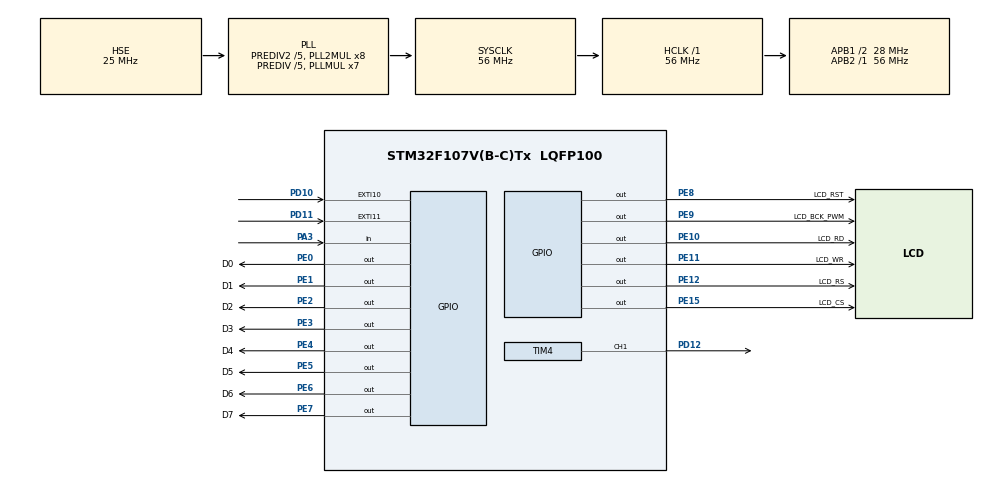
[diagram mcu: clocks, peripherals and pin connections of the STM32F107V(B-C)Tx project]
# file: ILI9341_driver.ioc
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Mcu.Family=STM32F1
Mcu.Name=STM32F107V(B-C)Tx
Mcu.Package=LQFP100
NVIC.EXTI15_10_IRQn=true\:0\:0\:false\:false\:true\:true
NVIC.PriorityGroup=NVIC_PRIORITYGROUP_4
OSC_IN.Mode=HSE-External-Oscillator
OSC_IN.Signal=RCC_OSC_IN
OSC_OUT.Mode=HSE-External-Oscillator
OSC_OUT.Signal=RCC_OSC_OUT
PA13.Mode=Serial_Wire
PA13.Signal=SYS_JTMS-SWDIO
PA14.Mode=Serial_Wire
PA14.Signal=SYS_JTCK-SWCLK
PA3.Signal=GPIO_Input
PD10.Signal=GPXTI10
PD11.Signal=GPXTI11
PD12.Signal=S_TIM4_CH1
PE0.GPIO_Label=D0
PE0.GPIO_ModeDefaultOutputPP=GPIO_MODE_OUTPUT_PP
PE0.GPIO_Speed=GPIO_SPEED_FREQ_LOW
PE0.PinState=GPIO_PIN_SET
PE0.Signal=GPIO_Output
PE1.GPIO_Label=D1
PE1.GPIO_ModeDefaultOutputPP=GPIO_MODE_OUTPUT_PP
PE1.GPIO_Speed=GPIO_SPEED_FREQ_LOW
PE1.PinState=GPIO_PIN_SET
PE1.Signal=GPIO_Output
PE10.GPIO_Label=LCD_RD
PE10.GPIO_ModeDefaultOutputPP=GPIO_MODE_OUTPUT_PP
PE10.GPIO_Speed=GPIO_SPEED_FREQ_LOW
PE10.PinState=GPIO_PIN_SET
PE10.Signal=GPIO_Output
PE11.GPIO_Label=LCD_WR
PE11.GPIO_ModeDefaultOutputPP=GPIO_MODE_OUTPUT_PP
PE11.GPIO_Speed=GPIO_SPEED_FREQ_LOW
PE11.PinState=GPIO_PIN_SET
PE11.Signal=GPIO_Output
PE12.GPIO_Label=LCD_RS
PE12.GPIO_ModeDefaultOutputPP=GPIO_MODE_OUTPUT_PP
PE12.GPIO_Speed=GPIO_SPEED_FREQ_LOW
PE12.PinState=GPIO_PIN_SET
PE12.Signal=GPIO_Output
PE15.GPIO_Label=LCD_CS
PE15.GPIO_ModeDefaultOutputPP=GPIO_MODE_OUTPUT_PP
PE15.GPIO_Speed=GPIO_SPEED_FREQ_LOW
PE15.PinState=GPIO_PIN_SET
PE15.Signal=GPIO_Output
PE2.GPIO_Label=D2
PE2.GPIO_ModeDefaultOutputPP=GPIO_MODE_OUTPUT_PP
PE2.GPIO_Speed=GPIO_SPEED_FREQ_LOW
PE2.PinState=GPIO_PIN_SET
PE2.Signal=GPIO_Output
PE3.GPIO_Label=D3
PE3.GPIO_ModeDefaultOutputPP=GPIO_MODE_OUTPUT_PP
PE3.GPIO_Speed=GPIO_SPEED_FREQ_LOW
PE3.PinState=GPIO_PIN_SET
PE3.Signal=GPIO_Output
PE4.GPIO_Label=D4
PE4.GPIO_ModeDefaultOutputPP=GPIO_MODE_OUTPUT_PP
PE4.GPIO_Speed=GPIO_SPEED_FREQ_LOW
PE4.PinState=GPIO_PIN_SET
PE4.Signal=GPIO_Output
PE5.GPIO_Label=D5
PE5.GPIO_ModeDefaultOutputPP=GPIO_MODE_OUTPUT_PP
PE5.GPIO_Speed=GPIO_SPEED_FREQ_LOW
PE5.PinState=GPIO_PIN_SET
PE5.Signal=GPIO_Output
PE6.GPIO_Label=D6
PE6.GPIO_ModeDefaultOutputPP=GPIO_MODE_OUTPUT_PP
PE6.GPIO_Speed=GPIO_SPEED_FREQ_LOW
PE6.PinState=GPIO_PIN_SET
PE6.Signal=GPIO_Output
PE7.GPIO_Label=D7
PE7.GPIO_ModeDefaultOutputPP=GPIO_MODE_OUTPUT_PP
PE7.GPIO_Speed=GPIO_SPEED_FREQ_LOW
PE7.PinState=GPIO_PIN_SET
PE7.Signal=GPIO_Output
PE8.GPIO_Label=LCD_RST
PE8.GPIO_ModeDefaultOutputPP=GPIO_MODE_OUTPUT_PP
PE8.GPIO_Speed=GPIO_SPEED_FREQ_LOW
PE8.PinState=GPIO_PIN_SET
PE8.Signal=GPIO_Output
PE9.GPIO_Label=LCD_BCK_PWM
PE9.GPIO_ModeDefaultOutputPP=GPIO_MODE_OUTPUT_PP
PE9.GPIO_Speed=GPIO_SPEED_FREQ_LOW
PE9.PinState=GPIO_PIN_SET
PE9.Signal=GPIO_Output
ProjectManager.HeapSize=0x200
ProjectManager.StackSize=0x400
ProjectManager.TargetToolchain=MDK-ARM V5
RCC.ADCPresc=RCC_ADCPCLK2_DIV4
RCC.AHBFreq_Value=56000000
RCC.APB1CLKDivider=RCC_HCLK_DIV2
RCC.APB1Freq_Value=28000000
RCC.APB1TimFreq_Value=56000000
RCC.APB2Freq_Value=56000000
RCC.APB2TimFreq_Value=56000000
RCC.HCLKFreq_Value=56000000
RCC.HSEDivPLL=RCC_HSE_PREDIV_DIV5
RCC.HSE_VALUE=25000000
RCC.PLLMUL=RCC_PLL_MUL7
RCC.PLLSourceVirtual=RCC_PLLSOURCE_HSE
RCC.Prediv1Source=RCC_PREDIV1_SOURCE_PLL2
RCC.Prediv2=RCC_HSE_PREDIV2_DIV5
RCC.SYSCLKFreq_VALUE=56000000
RCC.SYSCLKSource=RCC_SYSCLKSOURCE_PLLCLK
RCC.USBFreq_Value=37333333.333333336
SH.S_TIM4_CH1.0=TIM4_CH1,PWM Generation1 CH1
TIM4.Channel-PWM\ Generation1\ CH1=TIM_CHANNEL_1
TIM4.Period=35999
TIM4.Prescaler=1
TIM4.Pulse-PWM\ Generation1\ CH1=720
VP_TIM4_VS_ClockSourceINT.Mode=Internal
board=ILI9341_driver

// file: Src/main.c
/**
  ******************************************************************************
  * @file           : main.c
  * @brief          : Main program body
  ******************************************************************************
  ** This notice applies to any and all portions of this file
  * that are not between comment pairs USER CODE BEGIN and
  * USER CODE END. Other portions of this file, whether
  * inserted by the user or by software development tools
  * are owned by their respective copyright owners.
  *
  * COPYRIGHT(c) 2019 STMicroelectronics
  *
  * Redistribution and use in source and binary forms, with or without modification,
  * are permitted provided that the following conditions are met:
  *   1. Redistributions of source code must retain the above copyright notice,
  *      this list of conditions and the following disclaimer.
  *   2. Redistributions in binary form must reproduce the above copyright notice,
  *      this list of conditions and the following disclaimer in the documentation
  *      and/or other materials provided with the distribution.
  *   3. Neither the name of STMicroelectronics nor the names of its contributors
  *      may be used to endorse or promote products derived from this software
  *      without specific prior written permission.
  *
  * THIS SOFTWARE IS PROVIDED BY THE COPYRIGHT HOLDERS AND CONTRIBUTORS "AS IS"
  * AND ANY EXPRESS OR IMPLIED WARRANTIES, INCLUDING, BUT NOT LIMITED TO, THE
  * IMPLIED WARRANTIES OF MERCHANTABILITY AND FITNESS FOR A PARTICULAR PURPOSE ARE
  * DISCLAIMED. IN NO EVENT SHALL THE COPYRIGHT HOLDER OR CONTRIBUTORS BE LIABLE
  * FOR ANY DIRECT, INDIRECT, INCIDENTAL, SPECIAL, EXEMPLARY, OR CONSEQUENTIAL
  * DAMAGES (INCLUDING, BUT NOT LIMITED TO, PROCUREMENT OF SUBSTITUTE GOODS OR
  * SERVICES; LOSS OF USE, DATA, OR PROFITS; OR BUSINESS INTERRUPTION) HOWEVER
  * CAUSED AND ON ANY THEORY OF LIABILITY, WHETHER IN CONTRACT, STRICT LIABILITY,
  * OR TORT (INCLUDING NEGLIGENCE OR OTHERWISE) ARISING IN ANY WAY OUT OF THE USE
  * OF THIS SOFTWARE, EVEN IF ADVISED OF THE POSSIBILITY OF SUCH DAMAGE.
  *
  ******************************************************************************
  */
#include "main.h"
#include "stm32f1xx_hal.h"

/* USER CODE BEGIN Includes */
#include "dwt_stm32_delay.h"
#include "ILI9341_STM32_Driver.h"
#include "ILI9341_GFX.h"
#include "snow_tiger.h"
#include "stdlib.h"
#include "stdio.h"
#define MAXDS18 100
/* USER CODE END Includes */

TIM_HandleTypeDef htim4;

/* USER CODE BEGIN PV */
/* Private variables ---------------------------------------------------------*/

/* USER CODE END PV */

void SystemClock_Config(void);
static void MX_GPIO_Init(void);
static void MX_TIM4_Init(void);
void HAL_TIM_MspPostInit(TIM_HandleTypeDef *htim);

/* USER CODE BEGIN PFP */
/* Private function prototypes -----------------------------------------------*/
int pwm = 35999;
char buf[30];
/* USER CODE END PFP */

/* USER CODE BEGIN 0 */
GPIO_InitTypeDef GPIO_InitStruct;

void gpio_set_input (void)
{
  GPIO_InitStruct.Pin = GPIO_PIN_3;
  GPIO_InitStruct.Mode = GPIO_MODE_INPUT;
  GPIO_InitStruct.Pull = GPIO_PULLUP;
  HAL_GPIO_Init(GPIOA, &GPIO_InitStruct);
}

void gpio_set_output (void)
{
  GPIO_InitStruct.Pin = GPIO_PIN_3;
  GPIO_InitStruct.Mode = GPIO_MODE_OUTPUT_PP;
  GPIO_InitStruct.Pull = GPIO_NOPULL;
  GPIO_InitStruct.Speed = GPIO_SPEED_FREQ_LOW;
  HAL_GPIO_Init(GPIOA, &GPIO_InitStruct);
}

uint8_t check=2, temp_l, temp_h;
uint16_t temp;
float temperature;

uint8_t ds18b20_init (void)
{
	gpio_set_output();   // set the pin as output
	HAL_GPIO_WritePin (GPIOA, GPIO_PIN_3, 0);  // pull the pin low
	DWT_Delay_us(480);   // delay according to datasheet

	gpio_set_input ();    // set the pin as input
	DWT_Delay_us(80);    // delay according to datasheet

	if (!(HAL_GPIO_ReadPin (GPIOA, GPIO_PIN_3)))    // if the pin is low i.e the presence pulse is there
	{
		DWT_Delay_us(400);  // wait for 400 us
		return 0;
	}

	else
	{
		DWT_Delay_us(400);
		return 1;
	}
}

void write (uint8_t data)
{
	gpio_set_output();   // set as output

	for (int i=0; i<8; i++)
	{

		if ((data & (1<<i))!=0)  // if the bit is high
		{
			// write 1

			gpio_set_output();  // set as output
			HAL_GPIO_WritePin (GPIOA, GPIO_PIN_3, 0);  // pull the pin LOW
			DWT_Delay_us(1);  // wait for  us

			gpio_set_input ();  // set as input
			DWT_Delay_us(60);  // wait for 60 us
		}

		else  // if the bit is low
		{
			// write 0

			gpio_set_output();
			HAL_GPIO_WritePin(GPIOA, GPIO_PIN_3, 0);  // pull the pin LOW
			DWT_Delay_us(60);  // wait for 60 us

			gpio_set_input();
		}
	}
}

uint8_t read (void)
{
	uint8_t value=0;
	gpio_set_input();

	for (int i=0;i<8;i++)
	{
		gpio_set_output();   // set as output

		HAL_GPIO_WritePin(GPIOA, GPIO_PIN_3, 0);  // pull the data pin LOW
		DWT_Delay_us(2);  // wait for 2 us

		gpio_set_input();  // set as input
		if(HAL_GPIO_ReadPin(GPIOA, GPIO_PIN_3))  // if the pin is HIGH
		{
			value |= 1<<i;  // read = 1
		}
		DWT_Delay_us(60);  // wait for 60 us
	}
	return value;
}
/* USER CODE END 0 */

int main(void)
{
  /* USER CODE BEGIN 1 */
	char buf[MAXDS18];
	char buf2[MAXDS18];
  /* USER CODE END 1 */

  /* MCU Configuration----------------------------------------------------------*/

  /* Reset of all peripherals, Initializes the Flash interface and the Systick. */
  HAL_Init();

  /* Configure the system clock */
  SystemClock_Config();

  /* Initialize all configured peripherals */
  MX_GPIO_Init();
  MX_TIM4_Init();
  /* USER CODE BEGIN 2 */
	DWT_Delay_Init();
	ILI9341_Init();
	HAL_TIM_Base_Start(&htim4);
	HAL_TIM_PWM_Start(&htim4, TIM_CHANNEL_1);
  /* USER CODE END 2 */

  /* Infinite loop */
  /* USER CODE BEGIN WHILE */
	ILI9341_Fill_Screen(WHITE);

	ILI9341_Draw_Image((const char*)dog_small, 100, 100, 110, 10);
	ILI9341_Draw_Horizontal_Line(0,120,320,BLACK);
	srand(234);
  while (1)
  {
	__HAL_TIM_SET_COMPARE(&htim4, TIM_CHANNEL_1, pwm);
	check = ds18b20_init();
	write (0xCC);  // skip ROM
	write (0x44);  // convert t

	HAL_Delay(800);

	ds18b20_init();
	write (0xCC);  // skip ROM
	write (0xBE);  // Read Scratchpad

	temp_l = read();
	temp_h = read();
	temp = (temp_h<<8)|temp_l;
	temperature = (float)temp/16;

	double percentofCooling = (pwm/35999.0)*100.0;
	sprintf(buf,"Temperature:%.2f C",temperature);
	sprintf(buf2,"Cooling Speed:%.2f%%",percentofCooling);

	ILI9341_Set_Rotation(SCREEN_HORIZONTAL_1);

	ILI9341_Draw_Text(buf, 10, 130, BLACK, 2, WHITE);
	ILI9341_Draw_Text(buf2, 10, 160, BLACK, 2, WHITE);

  /* USER CODE END WHILE */

  }

}

void SystemClock_Config(void)
{

  RCC_OscInitTypeDef RCC_OscInitStruct;
  RCC_ClkInitTypeDef RCC_ClkInitStruct;

    /**Initializes the CPU, AHB and APB busses clocks
    */
  RCC_OscInitStruct.OscillatorType = RCC_OSCILLATORTYPE_HSE;
  RCC_OscInitStruct.HSEState = RCC_HSE_ON;
  RCC_OscInitStruct.HSEPredivValue = RCC_HSE_PREDIV_DIV5;
  RCC_OscInitStruct.HSIState = RCC_HSI_ON;
  RCC_OscInitStruct.Prediv1Source = RCC_PREDIV1_SOURCE_PLL2;
  RCC_OscInitStruct.PLL.PLLState = RCC_PLL_ON;
  RCC_OscInitStruct.PLL.PLLSource = RCC_PLLSOURCE_HSE;
  RCC_OscInitStruct.PLL.PLLMUL = RCC_PLL_MUL7;
  RCC_OscInitStruct.PLL2.PLL2State = RCC_PLL2_ON;
  RCC_OscInitStruct.PLL2.PLL2MUL = RCC_PLL2_MUL8;
  RCC_OscInitStruct.PLL2.HSEPrediv2Value = RCC_HSE_PREDIV2_DIV5;
  if (HAL_RCC_OscConfig(&RCC_OscInitStruct) != HAL_OK)
  {
    _Error_Handler(__FILE__, __LINE__);
  }

    /**Initializes the CPU, AHB and APB busses clocks
    */
  RCC_ClkInitStruct.ClockType = RCC_CLOCKTYPE_HCLK|RCC_CLOCKTYPE_SYSCLK
                              |RCC_CLOCKTYPE_PCLK1|RCC_CLOCKTYPE_PCLK2;
  RCC_ClkInitStruct.SYSCLKSource = RCC_SYSCLKSOURCE_PLLCLK;
  RCC_ClkInitStruct.AHBCLKDivider = RCC_SYSCLK_DIV1;
  RCC_ClkInitStruct.APB1CLKDivider = RCC_HCLK_DIV2;
  RCC_ClkInitStruct.APB2CLKDivider = RCC_HCLK_DIV1;

  if (HAL_RCC_ClockConfig(&RCC_ClkInitStruct, FLASH_LATENCY_2) != HAL_OK)
  {
    _Error_Handler(__FILE__, __LINE__);
  }

    /**Configure the Systick interrupt time
    */
  HAL_SYSTICK_Config(HAL_RCC_GetHCLKFreq()/1000);

    /**Configure the Systick
    */
  HAL_SYSTICK_CLKSourceConfig(SYSTICK_CLKSOURCE_HCLK);

    /**Configure the Systick interrupt time
    */
  __HAL_RCC_PLLI2S_ENABLE();

  /* SysTick_IRQn interrupt configuration */
  HAL_NVIC_SetPriority(SysTick_IRQn, 0, 0);
}

/* TIM4 init function */
static void MX_TIM4_Init(void)
{

  TIM_ClockConfigTypeDef sClockSourceConfig;
  TIM_MasterConfigTypeDef sMasterConfig;
  TIM_OC_InitTypeDef sConfigOC;

  htim4.Instance = TIM4;
  htim4.Init.Prescaler = 1;
  htim4.Init.CounterMode = TIM_COUNTERMODE_UP;
  htim4.Init.Period = 35999;
  htim4.Init.ClockDivision = TIM_CLOCKDIVISION_DIV1;
  htim4.Init.AutoReloadPreload = TIM_AUTORELOAD_PRELOAD_DISABLE;
  if (HAL_TIM_Base_Init(&htim4) != HAL_OK)
  {
    _Error_Handler(__FILE__, __LINE__);
  }

  sClockSourceConfig.ClockSource = TIM_CLOCKSOURCE_INTERNAL;
  if (HAL_TIM_ConfigClockSource(&htim4, &sClockSourceConfig) != HAL_OK)
  {
    _Error_Handler(__FILE__, __LINE__);
  }

  if (HAL_TIM_PWM_Init(&htim4) != HAL_OK)
  {
    _Error_Handler(__FILE__, __LINE__);
  }

  sMasterConfig.MasterOutputTrigger = TIM_TRGO_RESET;
  sMasterConfig.MasterSlaveMode = TIM_MASTERSLAVEMODE_DISABLE;
  if (HAL_TIMEx_MasterConfigSynchronization(&htim4, &sMasterConfig) != HAL_OK)
  {
    _Error_Handler(__FILE__, __LINE__);
  }

  sConfigOC.OCMode = TIM_OCMODE_PWM1;
  sConfigOC.Pulse = 720;
  sConfigOC.OCPolarity = TIM_OCPOLARITY_HIGH;
  sConfigOC.OCFastMode = TIM_OCFAST_DISABLE;
  if (HAL_TIM_PWM_ConfigChannel(&htim4, &sConfigOC, TIM_CHANNEL_1) != HAL_OK)
  {
    _Error_Handler(__FILE__, __LINE__);
  }

  HAL_TIM_MspPostInit(&htim4);

}

/** Configure pins as
        * Analog
        * Input
        * Output
        * EVENT_OUT
        * EXTI
*/
static void MX_GPIO_Init(void)
{

  GPIO_InitTypeDef GPIO_InitStruct;

  /* GPIO Ports Clock Enable */
  __HAL_RCC_GPIOE_CLK_ENABLE();
  __HAL_RCC_GPIOA_CLK_ENABLE();
  __HAL_RCC_GPIOD_CLK_ENABLE();

  /*Configure GPIO pin Output Level */
  HAL_GPIO_WritePin(GPIOE, D2_Pin|D3_Pin|D4_Pin|D5_Pin
                          |D6_Pin|D7_Pin|LCD_RST_Pin|LCD_BCK_PWM_Pin
                          |LCD_RD_Pin|LCD_WR_Pin|LCD_RS_Pin|LCD_CS_Pin
                          |D0_Pin|D1_Pin, GPIO_PIN_SET);

  /*Configure GPIO pins : D2_Pin D3_Pin D4_Pin D5_Pin
                           D6_Pin D7_Pin LCD_RST_Pin LCD_BCK_PWM_Pin
                           LCD_RD_Pin LCD_WR_Pin LCD_RS_Pin LCD_CS_Pin
                           D0_Pin D1_Pin */
  GPIO_InitStruct.Pin = D2_Pin|D3_Pin|D4_Pin|D5_Pin
                          |D6_Pin|D7_Pin|LCD_RST_Pin|LCD_BCK_PWM_Pin
                          |LCD_RD_Pin|LCD_WR_Pin|LCD_RS_Pin|LCD_CS_Pin
                          |D0_Pin|D1_Pin;
  GPIO_InitStruct.Mode = GPIO_MODE_OUTPUT_PP;
  GPIO_InitStruct.Speed = GPIO_SPEED_FREQ_LOW;
  HAL_GPIO_Init(GPIOE, &GPIO_InitStruct);

  /*Configure GPIO pin : PA3 */
  GPIO_InitStruct.Pin = GPIO_PIN_3;
  GPIO_InitStruct.Mode = GPIO_MODE_INPUT;
  GPIO_InitStruct.Pull = GPIO_NOPULL;
  HAL_GPIO_Init(GPIOA, &GPIO_InitStruct);

  /*Configure GPIO pins : PD10 PD11 */
  GPIO_InitStruct.Pin = GPIO_PIN_10|GPIO_PIN_11;
  GPIO_InitStruct.Mode = GPIO_MODE_IT_RISING;
  GPIO_InitStruct.Pull = GPIO_NOPULL;
  HAL_GPIO_Init(GPIOD, &GPIO_InitStruct);

  /* EXTI interrupt init*/
  HAL_NVIC_SetPriority(EXTI15_10_IRQn, 0, 0);
  HAL_NVIC_EnableIRQ(EXTI15_10_IRQn);

}

/* USER CODE BEGIN 4 */
void HAL_GPIO_EXTI_Callback(uint16_t GPIO_Pin)
{
	if (GPIO_Pin == GPIO_PIN_10 && pwm<35999) {
		pwm=pwm+1000;
		}
	if (GPIO_Pin == GPIO_PIN_11 && pwm>17999) {
		pwm=pwm-1000;
		}
}
/* USER CODE END 4 */

void _Error_Handler(char *file, int line)
{
  while(1)
  {
  }
}

/************************ (C) COPYRIGHT STMicroelectronics *****END OF FILE****/
